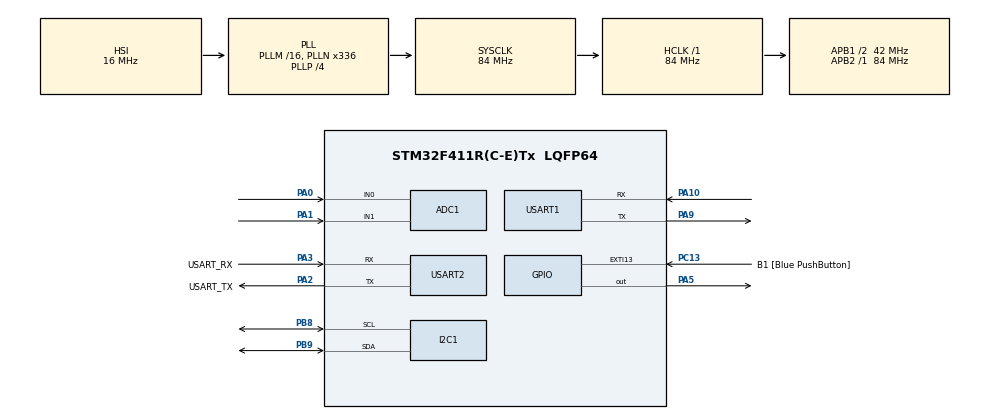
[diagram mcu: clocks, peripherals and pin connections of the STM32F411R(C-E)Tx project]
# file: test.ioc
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ADC1.Channel-0\#ChannelRegularConversion=ADC_CHANNEL_1
ADC1.NbrOfConversionFlag=1
ADC1.Rank-0\#ChannelRegularConversion=1
ADC1.SamplingTime-0\#ChannelRegularConversion=ADC_SAMPLETIME_3CYCLES
ADC1.master=1
FREERTOS.Tasks01=appCoreTask,24,2048,StartAppCoreTask,Default,NULL,Dynamic,NULL,NULL;weatherTask,8,2048,StartWeatherTask,Default,NULL,Dynamic,NULL,NULL
FREERTOS.configTOTAL_HEAP_SIZE=49152
Mcu.Family=STM32F4
Mcu.Name=STM32F411R(C-E)Tx
Mcu.Package=LQFP64
NVIC.PriorityGroup=NVIC_PRIORITYGROUP_4
NVIC.TIM1_UP_TIM10_IRQn=true\:15\:0\:false\:false\:true\:false\:false\:true\:true
NVIC.TimeBase=TIM1_UP_TIM10_IRQn
NVIC.TimeBaseIP=TIM10
PA0-WKUP.Signal=ADCx_IN0
PA1.Signal=ADCx_IN1
PA10.Mode=Asynchronous
PA10.Signal=USART1_RX
PA13.GPIO_Label=TMS
PA13.Mode=Serial_Wire
PA13.Signal=SYS_JTMS-SWDIO
PA14.GPIO_Label=TCK
PA14.Mode=Serial_Wire
PA14.Signal=SYS_JTCK-SWCLK
PA2.GPIO_Label=USART_TX
PA2.Mode=Asynchronous
PA2.Signal=USART2_TX
PA3.GPIO_Label=USART_RX
PA3.Mode=Asynchronous
PA3.Signal=USART2_RX
PA5.Signal=GPIO_Output
PA9.Mode=Asynchronous
PA9.Signal=USART1_TX
PB3.GPIO_Label=SWO
PB3.Signal=SYS_JTDO-SWO
PB8.Mode=I2C
PB8.Signal=I2C1_SCL
PB9.Mode=I2C
PB9.Signal=I2C1_SDA
PC13-ANTI_TAMP.GPIO_Label=B1 [Blue PushButton]
PC13-ANTI_TAMP.GPIO_ModeDefaultEXTI=GPIO_MODE_IT_FALLING
PC13-ANTI_TAMP.Signal=GPXTI13
PC14-OSC32_IN.Mode=LSE-External-Oscillator
PC14-OSC32_IN.Signal=RCC_OSC32_IN
PC15-OSC32_OUT.Mode=LSE-External-Oscillator
PC15-OSC32_OUT.Signal=RCC_OSC32_OUT
PH0\ -\ OSC_IN.Mode=HSE-External-Clock-Source
PH0\ -\ OSC_IN.Signal=RCC_OSC_IN
PH1\ -\ OSC_OUT.Mode=HSE-External-Clock-Source
PH1\ -\ OSC_OUT.Signal=RCC_OSC_OUT
ProjectManager.HeapSize=0x200
ProjectManager.StackSize=0x400
ProjectManager.TargetToolchain=MDK-ARM V5
RCC.48MHZClocksFreq_Value=84000000
RCC.AHBFreq_Value=84000000
RCC.APB1CLKDivider=RCC_HCLK_DIV2
RCC.APB1Freq_Value=42000000
RCC.APB1TimFreq_Value=84000000
RCC.APB2Freq_Value=84000000
RCC.APB2TimFreq_Value=84000000
RCC.CortexFreq_Value=84000000
RCC.FLatency-AdvancedSettings=FLASH_LATENCY_2
RCC.HCLKFreq_Value=84000000
RCC.HSE_VALUE=8000000
RCC.HSI_VALUE=16000000
RCC.PLLN=336
RCC.PLLP=RCC_PLLP_DIV4
RCC.SYSCLKFreq_VALUE=84000000
RCC.SYSCLKSource=RCC_SYSCLKSOURCE_PLLCLK
RCC.VCOOutputFreq_Value=336000000
SH.ADCx_IN0.0=ADC1_IN0,IN0
SH.ADCx_IN1.0=ADC1_IN1,IN1
USART1.VirtualMode=VM_ASYNC
USART2.VirtualMode=VM_ASYNC
VP_FREERTOS_VS_CMSIS_V2.Mode=CMSIS_V2
VP_SYS_VS_tim10.Mode=TIM10
board=NUCLEO-F411RE

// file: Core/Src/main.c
/* USER CODE BEGIN Header */
/**
  ******************************************************************************
  * @file           : main.c
  * @brief          : Main program body
  ******************************************************************************
  * @attention
  *
  * Copyright (c) 2026 STMicroelectronics.
  * All rights reserved.
  *
  * This software is licensed under terms that can be found in the LICENSE file
  * in the root directory of this software component.
  * If no LICENSE file comes with this software, it is provided AS-IS.
  *
  ******************************************************************************
  */
/* USER CODE END Header */
#include "main.h"
#include "cmsis_os.h"

/* USER CODE BEGIN Includes */
#include <stdio.h>
#include "app_actuator.h"
#include "app_clock.h"
#include "app_data.h"
#include "app_esp8266.h"
#include "app_key.h"
#include "app_sensor.h"
#include "app_ui.h"
#include "app_weather.h"
/* USER CODE END Includes */

ADC_HandleTypeDef hadc1;

I2C_HandleTypeDef hi2c1;

UART_HandleTypeDef huart1;
UART_HandleTypeDef huart2;

/* Definitions for appCoreTask */
osThreadId_t appCoreTaskHandle;
const osThreadAttr_t appCoreTask_attributes = {
  .name = "appCoreTask",
  .stack_size = 2048 * 4,
  .priority = (osPriority_t) osPriorityNormal,
};
/* Definitions for weatherTask */
osThreadId_t weatherTaskHandle;
const osThreadAttr_t weatherTask_attributes = {
  .name = "weatherTask",
  .stack_size = 2048 * 4,
  .priority = (osPriority_t) osPriorityLow,
};
/* USER CODE BEGIN PV */
uint8_t page = 0;
uint32_t alarm_page_refresh_tick = 0;
uint32_t sensor_update_tick = 0;
uint32_t gas_fake_update_tick = 0;
uint8_t key_event = 0;
char sntp_time_buf[96];
/* USER CODE END PV */

void SystemClock_Config(void);
static void MX_GPIO_Init(void);
static void MX_USART2_UART_Init(void);
static void MX_I2C1_Init(void);
static void MX_ADC1_Init(void);
static void MX_USART1_UART_Init(void);
void StartAppCoreTask(void *argument);
void StartWeatherTask(void *argument);

/* USER CODE BEGIN PFP */
void AppFreeRTOS_AppCoreTaskLoop(void);
void AppFreeRTOS_WeatherTaskLoop(void);

/* USER CODE END PFP */

/* USER CODE BEGIN 0 */
int fputc(int ch, FILE *f)
{
    HAL_UART_Transmit(&huart2, (uint8_t *)&ch, 1, 100);
    return ch;
}

/* USER CODE END 0 */

int main(void)
{

  /* MCU Configuration--------------------------------------------------------*/

  /* Reset of all peripherals, Initializes the Flash interface and the Systick. */
  HAL_Init();

  /* Configure the system clock */
  SystemClock_Config();

  /* Initialize all configured peripherals */
  MX_GPIO_Init();
  MX_USART2_UART_Init();
  MX_I2C1_Init();
  MX_ADC1_Init();
  MX_USART1_UART_Init();
  /* USER CODE BEGIN 2 */
  printf("System Start\r\n");
  AppData_Init();
  AppClock_Init();
  AppWeather_Init();
  AppESP8266_Init();
  AppData_Get()->wifi_ok = 0U;
  AppData_Get()->time_synced = 0U;
  AppActuator_Init();
  AppKey_Init();
  AppSensor_Init();
  /* OLED init/draw is temporarily moved to appCoreTask for I2C debug. */
  /* USER CODE END 2 */

  /* Init scheduler */
  osKernelInitialize();

  /* Create the thread(s) */
  /* creation of appCoreTask */
  appCoreTaskHandle = osThreadNew(StartAppCoreTask, NULL, &appCoreTask_attributes);

  /* creation of weatherTask */
  weatherTaskHandle = osThreadNew(StartWeatherTask, NULL, &weatherTask_attributes);

  /* Start scheduler */
  osKernelStart();

  /* We should never get here as control is now taken by the scheduler */

  /* Infinite loop */
  while (1)
  {

  }
}

void SystemClock_Config(void)
{
  RCC_OscInitTypeDef RCC_OscInitStruct = {0};
  RCC_ClkInitTypeDef RCC_ClkInitStruct = {0};

  /** Configure the main internal regulator output voltage
  */
  __HAL_RCC_PWR_CLK_ENABLE();
  __HAL_PWR_VOLTAGESCALING_CONFIG(PWR_REGULATOR_VOLTAGE_SCALE1);

  /** Initializes the RCC Oscillators according to the specified parameters
  * in the RCC_OscInitTypeDef structure.
  */
  RCC_OscInitStruct.OscillatorType = RCC_OSCILLATORTYPE_HSI;
  RCC_OscInitStruct.HSIState = RCC_HSI_ON;
  RCC_OscInitStruct.HSICalibrationValue = RCC_HSICALIBRATION_DEFAULT;
  RCC_OscInitStruct.PLL.PLLState = RCC_PLL_ON;
  RCC_OscInitStruct.PLL.PLLSource = RCC_PLLSOURCE_HSI;
  RCC_OscInitStruct.PLL.PLLM = 16;
  RCC_OscInitStruct.PLL.PLLN = 336;
  RCC_OscInitStruct.PLL.PLLP = RCC_PLLP_DIV4;
  RCC_OscInitStruct.PLL.PLLQ = 4;
  if (HAL_RCC_OscConfig(&RCC_OscInitStruct) != HAL_OK)
  {
    Error_Handler();
  }

  /** Initializes the CPU, AHB and APB buses clocks
  */
  RCC_ClkInitStruct.ClockType = RCC_CLOCKTYPE_HCLK|RCC_CLOCKTYPE_SYSCLK
                              |RCC_CLOCKTYPE_PCLK1|RCC_CLOCKTYPE_PCLK2;
  RCC_ClkInitStruct.SYSCLKSource = RCC_SYSCLKSOURCE_PLLCLK;
  RCC_ClkInitStruct.AHBCLKDivider = RCC_SYSCLK_DIV1;
  RCC_ClkInitStruct.APB1CLKDivider = RCC_HCLK_DIV2;
  RCC_ClkInitStruct.APB2CLKDivider = RCC_HCLK_DIV1;

  if (HAL_RCC_ClockConfig(&RCC_ClkInitStruct, FLASH_LATENCY_2) != HAL_OK)
  {
    Error_Handler();
  }
}

static void MX_ADC1_Init(void)
{

  ADC_ChannelConfTypeDef sConfig = {0};

  /** Configure the global features of the ADC (Clock, Resolution, Data Alignment and number of conversion)
  */
  hadc1.Instance = ADC1;
  hadc1.Init.ClockPrescaler = ADC_CLOCK_SYNC_PCLK_DIV4;
  hadc1.Init.Resolution = ADC_RESOLUTION_12B;
  hadc1.Init.ScanConvMode = DISABLE;
  hadc1.Init.ContinuousConvMode = DISABLE;
  hadc1.Init.DiscontinuousConvMode = DISABLE;
  hadc1.Init.ExternalTrigConvEdge = ADC_EXTERNALTRIGCONVEDGE_NONE;
  hadc1.Init.ExternalTrigConv = ADC_SOFTWARE_START;
  hadc1.Init.DataAlign = ADC_DATAALIGN_RIGHT;
  hadc1.Init.NbrOfConversion = 1;
  hadc1.Init.DMAContinuousRequests = DISABLE;
  hadc1.Init.EOCSelection = ADC_EOC_SINGLE_CONV;
  if (HAL_ADC_Init(&hadc1) != HAL_OK)
  {
    Error_Handler();
  }

  /** Configure for the selected ADC regular channel its corresponding rank in the sequencer and its sample time.
  */
  sConfig.Channel = ADC_CHANNEL_1;
  sConfig.Rank = 1;
  sConfig.SamplingTime = ADC_SAMPLETIME_3CYCLES;
  if (HAL_ADC_ConfigChannel(&hadc1, &sConfig) != HAL_OK)
  {
    Error_Handler();
  }

}

static void MX_I2C1_Init(void)
{

  hi2c1.Instance = I2C1;
  hi2c1.Init.ClockSpeed = 100000;
  hi2c1.Init.DutyCycle = I2C_DUTYCYCLE_2;
  hi2c1.Init.OwnAddress1 = 0;
  hi2c1.Init.AddressingMode = I2C_ADDRESSINGMODE_7BIT;
  hi2c1.Init.DualAddressMode = I2C_DUALADDRESS_DISABLE;
  hi2c1.Init.OwnAddress2 = 0;
  hi2c1.Init.GeneralCallMode = I2C_GENERALCALL_DISABLE;
  hi2c1.Init.NoStretchMode = I2C_NOSTRETCH_DISABLE;
  if (HAL_I2C_Init(&hi2c1) != HAL_OK)
  {
    Error_Handler();
  }

}

static void MX_USART1_UART_Init(void)
{

  huart1.Instance = USART1;
  huart1.Init.BaudRate = 115200;
  huart1.Init.WordLength = UART_WORDLENGTH_8B;
  huart1.Init.StopBits = UART_STOPBITS_1;
  huart1.Init.Parity = UART_PARITY_NONE;
  huart1.Init.Mode = UART_MODE_TX_RX;
  huart1.Init.HwFlowCtl = UART_HWCONTROL_NONE;
  huart1.Init.OverSampling = UART_OVERSAMPLING_16;
  if (HAL_UART_Init(&huart1) != HAL_OK)
  {
    Error_Handler();
  }

}

static void MX_USART2_UART_Init(void)
{

  huart2.Instance = USART2;
  huart2.Init.BaudRate = 115200;
  huart2.Init.WordLength = UART_WORDLENGTH_8B;
  huart2.Init.StopBits = UART_STOPBITS_1;
  huart2.Init.Parity = UART_PARITY_NONE;
  huart2.Init.Mode = UART_MODE_TX_RX;
  huart2.Init.HwFlowCtl = UART_HWCONTROL_NONE;
  huart2.Init.OverSampling = UART_OVERSAMPLING_16;
  if (HAL_UART_Init(&huart2) != HAL_OK)
  {
    Error_Handler();
  }

}

static void MX_GPIO_Init(void)
{
  GPIO_InitTypeDef GPIO_InitStruct = {0};

  /* GPIO Ports Clock Enable */
  __HAL_RCC_GPIOC_CLK_ENABLE();
  __HAL_RCC_GPIOH_CLK_ENABLE();
  __HAL_RCC_GPIOA_CLK_ENABLE();
  __HAL_RCC_GPIOB_CLK_ENABLE();

  /*Configure GPIO pin Output Level */
  HAL_GPIO_WritePin(GPIOA, GPIO_PIN_5, GPIO_PIN_RESET);

  /*Configure GPIO pin : B1_Pin */
  GPIO_InitStruct.Pin = B1_Pin;
  GPIO_InitStruct.Mode = GPIO_MODE_IT_FALLING;
  GPIO_InitStruct.Pull = GPIO_NOPULL;
  HAL_GPIO_Init(B1_GPIO_Port, &GPIO_InitStruct);

  /*Configure GPIO pin : PA5 */
  GPIO_InitStruct.Pin = GPIO_PIN_5;
  GPIO_InitStruct.Mode = GPIO_MODE_OUTPUT_PP;
  GPIO_InitStruct.Pull = GPIO_NOPULL;
  GPIO_InitStruct.Speed = GPIO_SPEED_FREQ_LOW;
  HAL_GPIO_Init(GPIOA, &GPIO_InitStruct);

}

/* USER CODE BEGIN 4 */
void App_I2C1_ReInit(void)
{
  HAL_I2C_DeInit(&hi2c1);
  MX_I2C1_Init();
}

uint8_t App_I2C1_Scan(void)
{
  uint8_t oled_addr = 0U;

  for (uint8_t addr = 0x03U; addr <= 0x77U; addr++)
  {
    if (HAL_I2C_IsDeviceReady(&hi2c1, (uint16_t)(addr << 1), 2U, 20U) == HAL_OK)
    {
      if ((addr == 0x3CU) || (addr == 0x3DU))
      {
        oled_addr = addr;
      }
    }
  }

  return oled_addr;
}

void App_I2C1_BusRecover(void)
{
  GPIO_InitTypeDef GPIO_InitStruct = {0};

  HAL_I2C_DeInit(&hi2c1);

  __HAL_RCC_GPIOB_CLK_ENABLE();

  GPIO_InitStruct.Pin = GPIO_PIN_8 | GPIO_PIN_9;
  GPIO_InitStruct.Mode = GPIO_MODE_OUTPUT_OD;
  GPIO_InitStruct.Pull = GPIO_PULLUP;
  GPIO_InitStruct.Speed = GPIO_SPEED_FREQ_LOW;
  HAL_GPIO_Init(GPIOB, &GPIO_InitStruct);

  HAL_GPIO_WritePin(GPIOB, GPIO_PIN_8 | GPIO_PIN_9, GPIO_PIN_SET);
  HAL_Delay(1);

  for (uint8_t i = 0U; i < 9U; i++)
  {
    HAL_GPIO_WritePin(GPIOB, GPIO_PIN_8, GPIO_PIN_RESET);
    HAL_Delay(1);
    HAL_GPIO_WritePin(GPIOB, GPIO_PIN_8, GPIO_PIN_SET);
    HAL_Delay(1);
  }

  HAL_GPIO_WritePin(GPIOB, GPIO_PIN_9, GPIO_PIN_RESET);
  HAL_Delay(1);
  HAL_GPIO_WritePin(GPIOB, GPIO_PIN_8, GPIO_PIN_SET);
  HAL_Delay(1);
  HAL_GPIO_WritePin(GPIOB, GPIO_PIN_9, GPIO_PIN_SET);
  HAL_Delay(1);

  MX_I2C1_Init();
  printf("[I2C] bus recover done\r\n");
}

/* USER CODE END 4 */

void StartAppCoreTask(void *argument)
{
  /* USER CODE BEGIN 5 */
  AppFreeRTOS_AppCoreTaskLoop();
  /* USER CODE END 5 */
}

void StartWeatherTask(void *argument)
{
  /* USER CODE BEGIN StartWeatherTask */
  AppFreeRTOS_WeatherTaskLoop();
  /* USER CODE END StartWeatherTask */
}

void HAL_TIM_PeriodElapsedCallback(TIM_HandleTypeDef *htim)
{
  if (htim->Instance == TIM10)
  {
    HAL_IncTick();
  }
}

void Error_Handler(void)
{
  __disable_irq();
  while (1)
  {
  }
}

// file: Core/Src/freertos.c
/* USER CODE BEGIN Header */
/**
  ******************************************************************************
  * File Name          : freertos.c
  * Description        : Code for freertos applications
  ******************************************************************************
  * @attention
  *
  * Copyright (c) 2026 STMicroelectronics.
  * All rights reserved.
  *
  * This software is licensed under terms that can be found in the LICENSE file
  * in the root directory of this software component.
  * If no LICENSE file comes with this software, it is provided AS-IS.
  *
  ******************************************************************************
  */
/* USER CODE END Header */

#include "FreeRTOS.h"
#include "task.h"
#include "main.h"

/* USER CODE BEGIN Includes */
#include <stdio.h>
#include "cmsis_os.h"
#include "app_ui.h"
#include "app_key.h"
#include "app_data.h"
#include "app_clock.h"
#include "app_sensor.h"
#include "app_actuator.h"
#include "app_esp8266.h"
#include "app_weather.h"
#include "app_voice.h"
#include "ssd1306.h"
#include "ssd1306_fonts.h"

/* USER CODE END Includes */

/* USER CODE BEGIN Variables */
static uint8_t current_page = 0U;
static uint32_t app_core_slow_tick = 0U;
static uint32_t app_core_ui_tick = 0U;
static uint32_t app_core_voice_tick = 0U;
static GPIO_PinState last_pc13_raw = GPIO_PIN_SET;
static uint8_t oled_i2c_ready = 0U;
extern I2C_HandleTypeDef hi2c1;
extern void App_I2C1_ReInit(void);
extern uint8_t App_I2C1_Scan(void);
extern void App_I2C1_BusRecover(void);

/* USER CODE END Variables */

/* USER CODE BEGIN FunctionPrototypes */
void AppFreeRTOS_AppCoreTaskLoop(void);
void AppFreeRTOS_WeatherTaskLoop(void);
static void Debug_OLED_CheckAndInit(void);
static uint8_t AppFreeRTOS_TrySNTP(char *buf, uint16_t buf_len);
static uint8_t AppFreeRTOS_TryWeather(void);

/* USER CODE END FunctionPrototypes */

/* USER CODE BEGIN Application */
static void Debug_OLED_CheckAndInit(void)
{
    uint8_t found_addr;

    osDelay(500);

    found_addr = App_I2C1_Scan();

    if ((found_addr != 0x3CU) && (found_addr != 0x3DU))
    {
        App_I2C1_BusRecover();
        found_addr = App_I2C1_Scan();
    }

    if ((found_addr == 0x3CU) || (found_addr == 0x3DU))
    {
        oled_i2c_ready = 1U;
        ssd1306_Init();
        ssd1306_Fill(Black);
        ssd1306_SetCursor(0, 0);
        ssd1306_WriteString("OLED RECOVER", Font_7x10, White);
        ssd1306_UpdateScreen();
        printf("[OLED] OK\r\n");
    }
    else
    {
        oled_i2c_ready = 0U;
        printf("[OLED] FAIL\r\n");
    }
}

static uint8_t AppFreeRTOS_TrySNTP(char *buf, uint16_t buf_len)
{
    uint8_t sntp_cfg_ok;
    uint8_t sntp_time_ok;
    uint8_t clock_sync_ok;

    sntp_cfg_ok = AppESP8266_ConfigSNTP();

    if (sntp_cfg_ok == 0U)
    {
        printf("[NET] SNTP FAIL\r\n");
        AppData_Get()->time_synced = 0U;
        return 0U;
    }

    sntp_time_ok = AppESP8266_GetSNTPTime(buf, buf_len);

    if (sntp_time_ok == 0U)
    {
        printf("[NET] SNTP FAIL\r\n");
        AppData_Get()->time_synced = 0U;
        return 0U;
    }

    clock_sync_ok = AppClock_SetTimeFromSNTPString(buf);
    printf("[NET] SNTP %s\r\n", clock_sync_ok ? "OK" : "FAIL");
    AppData_Get()->time_synced = clock_sync_ok ? 1U : 0U;

    return clock_sync_ok;
}

static uint8_t AppFreeRTOS_TryWeather(void)
{
    uint8_t ok;

    AppWeather_Get()->updating = 1U;
    ok = AppWeather_UpdateFromESP8266();
    AppWeather_Get()->updating = 0U;

    printf("[NET] Weather %s\r\n", ok ? "OK" : "FAIL");
    return ok;
}

void AppFreeRTOS_AppCoreTaskLoop(void)
{
    uint8_t key_event;
    GPIO_PinState pc13_raw;

    app_core_slow_tick = HAL_GetTick();
    app_core_ui_tick = HAL_GetTick();
    app_core_voice_tick = HAL_GetTick();
    AppKey_Init();
    AppVoice_Init();
    last_pc13_raw = HAL_GPIO_ReadPin(GPIOC, GPIO_PIN_13);
    Debug_OLED_CheckAndInit();
    if (oled_i2c_ready != 0U)
    {
        AppUI_ShowPage(current_page);
    }

    for (;;)
    {
        AppActuator_Update();

        pc13_raw = HAL_GPIO_ReadPin(GPIOC, GPIO_PIN_13);
        if (pc13_raw != last_pc13_raw)
        {
            last_pc13_raw = pc13_raw;
        }

        if ((HAL_GetTick() - app_core_slow_tick) >= 100U)
        {
            app_core_slow_tick = HAL_GetTick();
            AppClock_Update();
            AppSensor_UpdateData();
        }

        if ((HAL_GetTick() - app_core_voice_tick) >= 50U)
        {
            uint8_t voice_cmd;

            app_core_voice_tick = HAL_GetTick();
            AppVoice_Update();
            voice_cmd = AppVoice_GetLastCommand();

            if (voice_cmd != APP_VOICE_CMD_NONE)
            {
                if (voice_cmd == APP_VOICE_CMD_PAGE_NEXT)
                {
                    current_page = (uint8_t)((current_page + 1U) % APP_UI_PAGE_COUNT);
                    printf("[UI] page=%d\r\n", current_page);
                }
                else if (voice_cmd == APP_VOICE_CMD_MODE_AUTO)
                {
                    AppData_SetMode(0U);
                    printf("[MODE] changed\r\n");
                }
                else if (voice_cmd == APP_VOICE_CMD_MODE_MANUAL)
                {
                    AppData_SetMode(1U);
                    printf("[MODE] changed\r\n");
                }
                else if (voice_cmd == APP_VOICE_CMD_ALARM_OFF)
                {
                    AppClock_ClearAlarm();
                    AppActuator_BuzzerOff();
                }
                else if (voice_cmd == APP_VOICE_CMD_WEATHER_PAGE)
                {
                    current_page = 4U;
                    printf("[UI] page=%d\r\n", current_page);
                }
                else if ((voice_cmd == APP_VOICE_CMD_FAN_ON) ||
                         (voice_cmd == APP_VOICE_CMD_AC_ON))
                {
                    AppActuator_FanOn();
                }
                else if ((voice_cmd == APP_VOICE_CMD_FAN_OFF) ||
                         (voice_cmd == APP_VOICE_CMD_AC_OFF))
                {
                    AppActuator_FanOff();
                }
                else if (voice_cmd == APP_VOICE_CMD_FAN_TOGGLE)
                {
                    AppActuator_FanToggle();
                }

                AppVoice_ClearCommand();
                if (oled_i2c_ready != 0U)
                {
                    AppUI_ShowPage(current_page);
                }
            }
        }

        key_event = AppKey_Scan();

        if (key_event == APP_KEY_EVENT_SHORT)
        {
            current_page = (uint8_t)((current_page + 1U) % APP_UI_PAGE_COUNT);
            printf("[UI] page=%d\r\n", current_page);
            if (oled_i2c_ready != 0U)
            {
                AppUI_ShowPage(current_page);
            }
        }
        else if (key_event == APP_KEY_EVENT_LONG)
        {
            AppData_NextMode();
            printf("[MODE] changed\r\n");
            if (oled_i2c_ready != 0U)
            {
                AppUI_ShowPage(current_page);
            }
        }

        if ((HAL_GetTick() - app_core_ui_tick) >= 200U)
        {
            app_core_ui_tick = HAL_GetTick();
            if (oled_i2c_ready != 0U)
            {
                AppUI_ShowPage(current_page);
            }
        }

        osDelay(10);
    }
}

void AppFreeRTOS_WeatherTaskLoop(void)
{
    uint8_t at_ok;
    uint8_t connect_ok;
    uint8_t status_ok;
    uint8_t wifi_ok = 0U;
    uint8_t sntp_synced = 0U;
    uint8_t weather_started = 0U;
    char sntp_time_buf[128];
    uint32_t last_wifi_retry_tick = 0U;
    uint32_t last_wifi_status_tick = 0U;
    uint32_t last_weather_loop_log_tick = 0U;

    osDelay(5000);

    for (;;)
    {
        if (wifi_ok == 0U)
        {
            if ((last_wifi_retry_tick == 0U) || ((HAL_GetTick() - last_wifi_retry_tick) >= 10000U))
            {
                last_wifi_retry_tick = HAL_GetTick();

                at_ok = AppESP8266_TestAT();
                printf("[NET] ESP AT %s\r\n", at_ok ? "OK" : "FAIL");

                if (at_ok != 0U)
                {
                    AppESP8266_SetStationMode();
                    connect_ok = AppESP8266_ConnectWiFi(0, 0);

                    status_ok = AppESP8266_CheckWiFiStatus();

                    wifi_ok = ((connect_ok != 0U) || (status_ok != 0U)) ? 1U : 0U;
                    printf("[NET] WiFi %s\r\n", wifi_ok ? "OK" : "FAIL");
                }
                else
                {
                    connect_ok = 0U;
                    status_ok = AppESP8266_CheckWiFiStatus();
                    wifi_ok = status_ok;
                    printf("[NET] WiFi %s\r\n", wifi_ok ? "OK" : "FAIL");
                }

                AppData_Get()->wifi_ok = wifi_ok;
                last_wifi_status_tick = HAL_GetTick();

                if ((wifi_ok != 0U) && (sntp_synced == 0U))
                {
                    sntp_synced = AppFreeRTOS_TrySNTP(sntp_time_buf, sizeof(sntp_time_buf));
                    if (sntp_synced != 0U)
                    {
                        weather_started = AppFreeRTOS_TryWeather();
                    }
                }
            }
        }
        else
        {
            if ((last_weather_loop_log_tick == 0U) ||
                ((HAL_GetTick() - last_weather_loop_log_tick) >= 30000U))
            {
                last_weather_loop_log_tick = HAL_GetTick();
                printf("[RTOS] weatherTask loop wifi_ok=%d\r\n", wifi_ok);
            }

            if ((HAL_GetTick() - last_wifi_status_tick) >= 30000U)
            {
                last_wifi_status_tick = HAL_GetTick();
                status_ok = AppESP8266_CheckWiFiStatus();

                wifi_ok = status_ok;
                printf("[NET] WiFi %s\r\n", wifi_ok ? "OK" : "FAIL");
                AppData_Get()->wifi_ok = wifi_ok;
                if (wifi_ok == 0U)
                {
                    sntp_synced = 0U;
                    weather_started = 0U;
                    AppData_Get()->time_synced = 0U;
                    last_wifi_retry_tick = HAL_GetTick();
                }
                else if (sntp_synced == 0U)
                {
                    sntp_synced = AppFreeRTOS_TrySNTP(sntp_time_buf, sizeof(sntp_time_buf));
                    if (sntp_synced != 0U)
                    {
                        weather_started = AppFreeRTOS_TryWeather();
                    }
                }
                else if (weather_started == 0U)
                {
                    weather_started = AppFreeRTOS_TryWeather();
                }
            }

            if (wifi_ok != 0U)
            {
                AppWeather_Task();
            }
        }

        osDelay(1000);
    }
}

/* USER CODE END Application */
